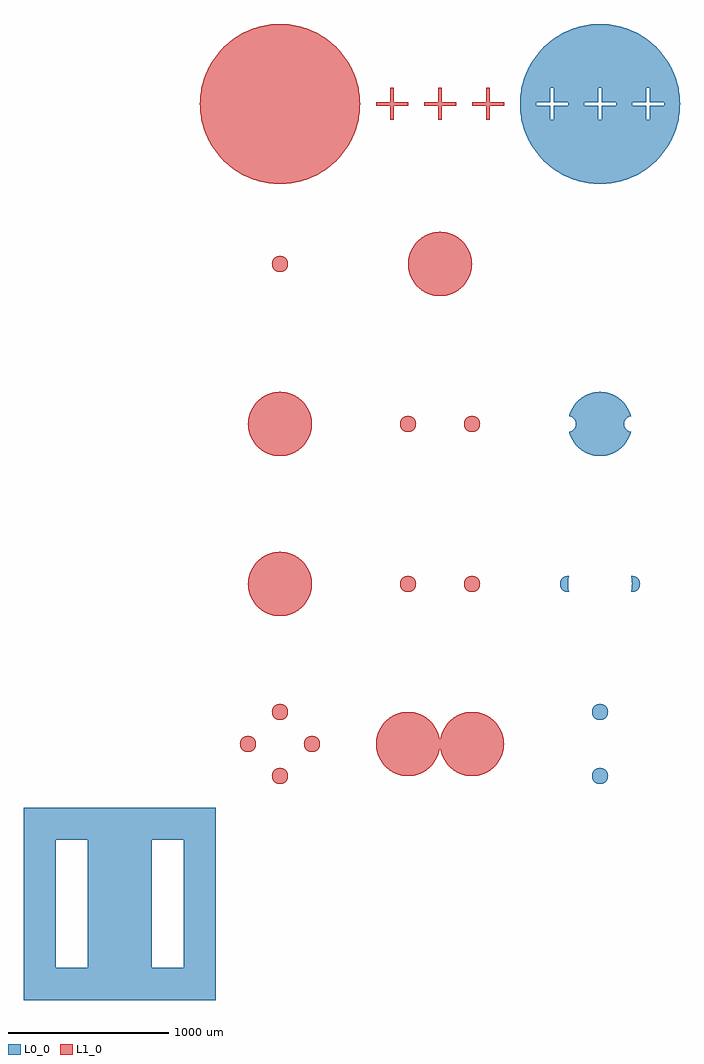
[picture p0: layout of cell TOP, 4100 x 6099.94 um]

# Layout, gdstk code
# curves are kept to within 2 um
import gdstk
lib = gdstk.Library(unit=1e-6, precision=1e-09)
def P(c, l, *ps):  # polygons
    for p in ps: c.add(gdstk.Polygon(p, *l))
L0_0 = (0, 0)
L1_0 = (1, 0)

top = lib.new_cell('TOP')
P(top, L0_0, [(497.736,952.472),(500,1000),(497.736,1047.528),(490.964,1094.626),(479.746,1140.866),(464.184,1185.831),(444.418,1229.113),(420.627,1270.32),(393.027,1309.08),(361.867,1345.04),(327.43,1377.875),(276.96,1416.285),(236.136,1440.727),(193.173,1461.177),(148.46,1477.451),(102.403,1489.401),(55.419,1496.919),(7.933,1499.937),(-39.625,1498.427),(-86.824,1492.404),(-133.237,1481.921),(-178.443,1467.074),(-236.136,1440.727),(-276.96,1416.285),(-315.276,1388.073),(-361.867,1345.04),(-393.027,1309.08),(-420.627,1270.32),(-444.418,1229.113),(-464.184,1185.831),(-479.746,1140.866),(-490.964,1094.626),(-497.736,1047.528),(-499.841,990),(-400,990),(-400,1010),(-310,1010),(-310,1100),(-290,1100),(-290,1010),(-200,1010),(-200,990),(-100,990),(-100,1010),(-10,1010),(-10,1100),(10,1100),(10,1010),(100,1010),(100,990),(200,990),(200,1010),(290,1010),(290,1100),(310,1100),(310,1010),(400,1010),(400,990),(310,990),(310,900),(290,900),(290,990),(10,990),(10,900),(-10,900),(-10,990),(-290,990),(-290,900),(-310,900),(-310,990),(-499.841,990),(-490.964,905.374),(-479.746,859.134),(-464.184,814.169),(-428.992,743.161),(-402.635,703.546),(-372.632,666.616),(-339.255,632.704),(-302.805,602.119),(-236.136,559.273),(-193.173,538.823),(-148.46,522.549),(-102.403,510.599),(-55.419,503.081),(-7.933,500.063),(39.625,501.573),(86.824,507.596),(133.237,518.079),(178.443,532.926),(236.136,559.273),(276.96,583.715),(315.276,611.927),(361.867,654.96),(393.027,690.921),(420.627,729.68),(444.418,770.887),(464.184,814.169),(479.746,859.134),(490.964,905.374)],
  [(191.318,-1049.24),(176.386,-1044.073),(163.813,-1034.504),(154.854,-1021.49),(150.402,-1006.33),(152.025,-985.913),(160.697,-969.092),(175,-956.699),(193.742,-950.399),(185.674,-925.668),(171.597,-897.264),(149.053,-866.646),(121.122,-840.848),(88.813,-820.801),(47.152,-805.638),(9.516,-800.227),(-28.463,-802.036),(-65.414,-811),(-100,-826.795),(-130.972,-848.85),(-157.211,-876.368),(-177.767,-908.355),(-193.59,-949.77),(-176.386,-955.927),(-163.813,-965.496),(-154.854,-978.51),(-150.402,-993.67),(-152.025,-1014.087),(-160.697,-1030.908),(-175,-1043.301),(-193.742,-1049.601),(-185.674,-1074.332),(-171.597,-1102.736),(-149.053,-1133.354),(-121.122,-1159.152),(-88.813,-1179.199),(-47.152,-1194.362),(-9.516,-1199.774),(34.73,-1196.962),(71.377,-1186.83),(105.445,-1169.945),(140.295,-1142.539),(164.735,-1113.412),(185.674,-1074.332),(193.742,-1049.601)],
  [(-196.386,-2037.85),(-199.899,-1993.654),(-193.742,-1950.399),(-203.962,-1950.157),(-223.614,-1955.927),(-238.302,-1967.861),(-247.504,-1984.398),(-249.774,-2004.753),(-242.063,-2027.032),(-226.361,-2042.486),(-210.24,-2048.94),(-193.742,-2049.601)],
  [(199.597,-2012.685),(193.742,-2049.601),(210.24,-2048.94),(225,-2043.301),(238.302,-2032.139),(246.985,-2017.101),(249.975,-2001.586),(246.985,-1982.899),(236.187,-1965.496),(220.771,-1954.518),(200.793,-1950.006),(193.742,-1950.399),(199.094,-1980.989)],
  [(49.899,-2803.171),(47.504,-2784.398),(38.302,-2767.86),(23.614,-2755.927),(3.962,-2750.157),(-14.846,-2752.255),(-32.743,-2762.212),(-44.442,-2777.088),(-49.899,-2796.829),(-47.504,-2815.602),(-38.302,-2832.14),(-23.614,-2844.073),(-3.962,-2849.843),(14.846,-2847.745),(32.743,-2837.788),(44.442,-2822.912)],
  [(49.899,-3203.171),(47.504,-3184.398),(38.302,-3167.86),(23.614,-3155.927),(3.962,-3150.157),(-14.846,-3152.255),(-32.743,-3162.212),(-44.442,-3177.088),(-49.899,-3196.829),(-47.504,-3215.602),(-38.302,-3232.14),(-23.614,-3244.073),(-3.962,-3249.843),(14.846,-3247.745),(32.743,-3237.788),(44.442,-3222.912)],
  [(49.899,-2803.171),(47.504,-2784.398),(38.302,-2767.86),(23.614,-2755.927),(3.962,-2750.157),(-14.846,-2752.255),(-32.743,-2762.212),(-44.442,-2777.088),(-49.899,-2796.829),(-47.504,-2815.602),(-38.302,-2832.14),(-23.614,-2844.073),(-3.962,-2849.843),(14.846,-2847.745),(32.743,-2837.788),(44.442,-2822.912)],
  [(49.899,-3203.171),(47.504,-3184.398),(38.302,-3167.86),(23.614,-3155.927),(3.962,-3150.157),(-14.846,-3152.255),(-32.743,-3162.212),(-44.442,-3177.088),(-49.899,-3196.829),(-47.504,-3215.602),(-38.302,-3232.14),(-23.614,-3244.073),(-3.962,-3249.843),(14.846,-3247.745),(32.743,-3237.788),(44.442,-3222.912)],
  [(-2400,-4600),(-2400,-3400),(-3600,-3400),(-3600,-4400),(-3400,-4400),(-3400,-3600),(-3200,-3600),(-3200,-4400),(-2800,-4400),(-2800,-3600),(-2600,-3600),(-2600,-4400),(-2800,-4400),(-3200,-4400),(-3400,-4400),(-3600,-4400),(-3600,-4600)])
P(top, L1_0, [(-990,1010),(-900,1010),(-900,990),(-990,990),(-990,900),(-1010,900),(-1010,990),(-1100,990),(-1100,1010),(-1010,1010),(-1010,1100),(-990,1100)],
  [(-690,1010),(-600,1010),(-600,990),(-690,990),(-690,900),(-710,900),(-710,990),(-800,990),(-800,1010),(-710,1010),(-710,1100),(-690,1100)],
  [(-1290,1010),(-1200,1010),(-1200,990),(-1290,990),(-1290,900),(-1310,900),(-1310,990),(-1400,990),(-1400,1010),(-1310,1010),(-1310,1100),(-1290,1100)],
  [(-1500,1000),(-1502.264,1047.528),(-1509.036,1094.626),(-1520.254,1140.866),(-1535.816,1185.831),(-1555.582,1229.113),(-1579.373,1270.32),(-1606.973,1309.08),(-1638.133,1345.04),(-1672.57,1377.875),(-1709.972,1407.288),(-1750,1433.013),(-1792.292,1454.816),(-1836.466,1472.5),(-1882.12,1485.906),(-1928.842,1494.911),(-1992.067,1499.937),(-2039.625,1498.427),(-2086.824,1492.404),(-2133.237,1481.921),(-2178.443,1467.074),(-2222.033,1447.997),(-2263.613,1424.863),(-2302.805,1397.881),(-2350.738,1356.347),(-2393.026,1309.08),(-2420.627,1270.32),(-2444.418,1229.113),(-2464.184,1185.831),(-2479.746,1140.866),(-2490.964,1094.626),(-2497.736,1047.528),(-2500,1000),(-2497.736,952.472),(-2490.964,905.374),(-2479.746,859.134),(-2464.184,814.169),(-2444.418,770.887),(-2420.627,729.68),(-2383.022,678.606),(-2350.738,643.653),(-2315.276,611.927),(-2276.96,583.715),(-2236.136,559.273),(-2193.172,538.823),(-2148.46,522.549),(-2102.403,510.599),(-2055.419,503.081),(-2007.933,500.063),(-1960.375,501.573),(-1913.176,507.596),(-1866.763,518.079),(-1806.827,538.823),(-1763.864,559.273),(-1723.04,583.715),(-1684.724,611.927),(-1649.263,643.653),(-1606.973,690.921),(-1579.373,729.68),(-1555.582,770.887),(-1535.816,814.169),(-1520.254,859.134),(-1509.036,905.374),(-1502.264,952.472)],
  [(-1950,0),(-1954.195,20.047),(-1964.926,35.635),(-1980.683,46.118),(-1999.207,49.994),(-2019.317,46.118),(-2035.074,35.635),(-2045.805,20.047),(-2050,0),(-2045.805,-20.047),(-2035.074,-35.635),(-2019.317,-46.118),(-2000.793,-49.994),(-1980.683,-46.118),(-1964.926,-35.635),(-1954.195,-20.047)],
  [(-800,0),(-803.614,37.85),(-814.326,74.332),(-831.749,108.128),(-855.253,138.016),(-889.216,166.514),(-922.731,184.471),(-959.039,195.76),(-996.827,199.975),(-1034.73,196.962),(-1071.377,186.83),(-1110.784,166.514),(-1140.295,142.539),(-1164.735,113.412),(-1183.222,80.186),(-1196.386,37.85),(-1200,0),(-1196.386,-37.85),(-1185.674,-74.332),(-1168.251,-108.128),(-1144.747,-138.016),(-1110.784,-166.514),(-1077.269,-184.471),(-1040.961,-195.76),(-1003.173,-199.975),(-965.27,-196.962),(-928.623,-186.83),(-889.216,-166.514),(-859.705,-142.539),(-835.265,-113.412),(-816.778,-80.186),(-803.614,-37.85)],
  [(-1150,-1000),(-1153.582,-981.417),(-1164.926,-964.365),(-1180.683,-953.882),(-1199.207,-950.006),(-1219.317,-953.882),(-1235.074,-964.365),(-1246.418,-981.417),(-1250,-1000),(-1246.418,-1018.583),(-1235.074,-1035.635),(-1219.317,-1046.118),(-1200.793,-1049.994),(-1180.683,-1046.118),(-1164.926,-1035.635),(-1153.582,-1018.583)],
  [(-750,-1000),(-753.582,-981.417),(-764.926,-964.365),(-780.683,-953.882),(-799.207,-950.006),(-819.317,-953.882),(-835.074,-964.365),(-846.418,-981.417),(-850,-1000),(-846.418,-1018.583),(-835.074,-1035.635),(-819.317,-1046.118),(-800.793,-1049.994),(-780.683,-1046.118),(-764.926,-1035.635),(-753.582,-1018.583)],
  [(-1800,-1000),(-1803.614,-962.15),(-1814.326,-925.668),(-1831.749,-891.872),(-1855.253,-861.984),(-1889.216,-833.486),(-1922.731,-815.529),(-1959.039,-804.24),(-1996.827,-800.025),(-2034.73,-803.038),(-2071.377,-813.17),(-2110.784,-833.486),(-2140.295,-857.461),(-2164.735,-886.588),(-2183.222,-919.814),(-2196.386,-962.15),(-2200,-1000),(-2196.386,-1037.85),(-2185.674,-1074.332),(-2168.251,-1108.128),(-2144.747,-1138.016),(-2116.012,-1162.915),(-2077.269,-1184.471),(-2040.961,-1195.76),(-2003.173,-1199.975),(-1965.27,-1196.962),(-1928.623,-1186.83),(-1889.216,-1166.514),(-1859.705,-1142.539),(-1835.265,-1113.412),(-1816.778,-1080.186),(-1803.614,-1037.85)],
  [(-1150,-2000),(-1153.582,-1981.417),(-1164.926,-1964.365),(-1180.683,-1953.882),(-1199.207,-1950.006),(-1219.317,-1953.882),(-1235.074,-1964.365),(-1246.418,-1981.417),(-1250,-2000),(-1246.418,-2018.583),(-1235.074,-2035.635),(-1219.317,-2046.118),(-1200.793,-2049.994),(-1180.683,-2046.118),(-1164.926,-2035.635),(-1153.582,-2018.583)],
  [(-750,-2000),(-753.582,-1981.417),(-764.926,-1964.365),(-780.683,-1953.882),(-799.207,-1950.006),(-819.317,-1953.882),(-835.074,-1964.365),(-846.418,-1981.417),(-850,-2000),(-846.418,-2018.583),(-835.074,-2035.635),(-819.317,-2046.118),(-800.793,-2049.994),(-780.683,-2046.118),(-764.926,-2035.635),(-753.582,-2018.583)],
  [(-1800,-2000),(-1803.614,-1962.15),(-1814.326,-1925.668),(-1831.749,-1891.872),(-1855.253,-1861.984),(-1889.216,-1833.486),(-1922.731,-1815.529),(-1959.039,-1804.24),(-1996.827,-1800.025),(-2034.73,-1803.038),(-2071.377,-1813.17),(-2110.784,-1833.486),(-2140.295,-1857.461),(-2164.735,-1886.588),(-2183.222,-1919.814),(-2196.386,-1962.15),(-2200,-2000),(-2196.386,-2037.85),(-2185.674,-2074.332),(-2168.251,-2108.128),(-2144.747,-2138.016),(-2116.012,-2162.915),(-2077.269,-2184.471),(-2040.961,-2195.76),(-2003.173,-2199.975),(-1965.27,-2196.962),(-1928.623,-2186.83),(-1889.216,-2166.514),(-1859.705,-2142.539),(-1835.265,-2113.412),(-1816.778,-2080.186),(-1803.614,-2037.85)],
  [(-600,-3000),(-603.614,-2962.15),(-614.326,-2925.668),(-631.749,-2891.872),(-655.253,-2861.984),(-689.216,-2833.486),(-722.731,-2815.529),(-759.039,-2804.24),(-796.827,-2800.025),(-834.73,-2803.038),(-871.377,-2813.17),(-910.784,-2833.486),(-940.295,-2857.461),(-964.735,-2886.588),(-983.222,-2919.814),(-996.386,-2962.15),(-1000,-3000),(-996.386,-3037.85),(-985.674,-3074.332),(-968.251,-3108.128),(-944.747,-3138.016),(-910.784,-3166.514),(-877.269,-3184.471),(-840.961,-3195.76),(-803.173,-3199.975),(-765.27,-3196.962),(-728.623,-3186.83),(-689.216,-3166.514),(-659.705,-3142.539),(-635.265,-3113.412),(-616.778,-3080.186),(-603.614,-3037.85)],
  [(-1000,-3000),(-1003.614,-2962.15),(-1014.326,-2925.668),(-1031.749,-2891.872),(-1055.253,-2861.984),(-1089.216,-2833.486),(-1122.731,-2815.529),(-1159.039,-2804.24),(-1196.827,-2800.025),(-1234.73,-2803.038),(-1271.377,-2813.17),(-1310.784,-2833.486),(-1340.295,-2857.461),(-1364.735,-2886.588),(-1383.222,-2919.814),(-1396.386,-2962.15),(-1400,-3000),(-1396.386,-3037.85),(-1385.674,-3074.332),(-1368.251,-3108.128),(-1344.747,-3138.016),(-1310.784,-3166.514),(-1277.269,-3184.471),(-1240.961,-3195.76),(-1203.173,-3199.975),(-1165.27,-3196.962),(-1128.623,-3186.83),(-1089.216,-3166.514),(-1059.705,-3142.539),(-1035.265,-3113.412),(-1016.778,-3080.186),(-1003.614,-3037.85)],
  [(-2150,-3000),(-2154.194,-2979.953),(-2164.926,-2964.365),(-2180.682,-2953.882),(-2199.207,-2950.006),(-2219.318,-2953.882),(-2235.074,-2964.365),(-2245.806,-2979.953),(-2250,-3000),(-2245.806,-3020.047),(-2235.074,-3035.635),(-2219.318,-3046.118),(-2200.793,-3049.994),(-2180.682,-3046.118),(-2164.926,-3035.635),(-2154.194,-3020.047)],
  [(-1750,-3000),(-1754.195,-2979.953),(-1764.926,-2964.365),(-1780.683,-2953.882),(-1799.207,-2950.006),(-1819.317,-2953.882),(-1835.074,-2964.365),(-1845.805,-2979.953),(-1850,-3000),(-1845.805,-3020.047),(-1835.074,-3035.635),(-1819.317,-3046.118),(-1800.793,-3049.994),(-1780.683,-3046.118),(-1764.926,-3035.635),(-1754.195,-3020.047)],
  [(-1950,-2800),(-1954.195,-2779.953),(-1964.926,-2764.365),(-1980.683,-2753.882),(-1999.207,-2750.006),(-2017.844,-2753.292),(-2035.074,-2764.365),(-2045.805,-2779.953),(-2050,-2800),(-2045.805,-2820.047),(-2035.074,-2835.635),(-2019.317,-2846.118),(-2000.793,-2849.994),(-1982.156,-2846.708),(-1964.926,-2835.635),(-1954.195,-2820.047)],
  [(-1950,-3200),(-1954.195,-3179.953),(-1964.926,-3164.365),(-1980.683,-3153.882),(-1999.207,-3150.006),(-2017.844,-3153.292),(-2035.074,-3164.365),(-2045.805,-3179.953),(-2050,-3200),(-2045.805,-3220.047),(-2035.074,-3235.635),(-2019.317,-3246.118),(-2000.793,-3249.994),(-1982.156,-3246.708),(-1964.926,-3235.635),(-1954.195,-3220.047)],
  [(-600,-3000),(-603.614,-2962.15),(-614.326,-2925.668),(-631.749,-2891.872),(-655.253,-2861.984),(-689.216,-2833.486),(-722.731,-2815.529),(-759.039,-2804.24),(-796.827,-2800.025),(-834.73,-2803.038),(-871.377,-2813.17),(-910.784,-2833.486),(-940.295,-2857.461),(-964.735,-2886.588),(-983.222,-2919.814),(-996.386,-2962.15),(-1000,-3000),(-996.386,-3037.85),(-985.674,-3074.332),(-968.251,-3108.128),(-944.747,-3138.016),(-910.784,-3166.514),(-877.269,-3184.471),(-840.961,-3195.76),(-803.173,-3199.975),(-765.27,-3196.962),(-728.623,-3186.83),(-689.216,-3166.514),(-659.705,-3142.539),(-635.265,-3113.412),(-616.778,-3080.186),(-603.614,-3037.85)],
  [(-1000,-3000),(-1003.614,-2962.15),(-1014.326,-2925.668),(-1031.749,-2891.872),(-1055.253,-2861.984),(-1089.216,-2833.486),(-1122.731,-2815.529),(-1159.039,-2804.24),(-1196.827,-2800.025),(-1234.73,-2803.038),(-1271.377,-2813.17),(-1310.784,-2833.486),(-1340.295,-2857.461),(-1364.735,-2886.588),(-1383.222,-2919.814),(-1396.386,-2962.15),(-1400,-3000),(-1396.386,-3037.85),(-1385.674,-3074.332),(-1368.251,-3108.128),(-1344.747,-3138.016),(-1310.784,-3166.514),(-1277.269,-3184.471),(-1240.961,-3195.76),(-1203.173,-3199.975),(-1165.27,-3196.962),(-1128.623,-3186.83),(-1089.216,-3166.514),(-1059.705,-3142.539),(-1035.265,-3113.412),(-1016.778,-3080.186),(-1003.614,-3037.85)],
  [(-2150,-3000),(-2154.194,-2979.953),(-2164.926,-2964.365),(-2180.682,-2953.882),(-2199.207,-2950.006),(-2219.318,-2953.882),(-2235.074,-2964.365),(-2245.806,-2979.953),(-2250,-3000),(-2245.806,-3020.047),(-2235.074,-3035.635),(-2219.318,-3046.118),(-2200.793,-3049.994),(-2180.682,-3046.118),(-2164.926,-3035.635),(-2154.194,-3020.047)],
  [(-1750,-3000),(-1754.195,-2979.953),(-1764.926,-2964.365),(-1780.683,-2953.882),(-1799.207,-2950.006),(-1819.317,-2953.882),(-1835.074,-2964.365),(-1845.805,-2979.953),(-1850,-3000),(-1845.805,-3020.047),(-1835.074,-3035.635),(-1819.317,-3046.118),(-1800.793,-3049.994),(-1780.683,-3046.118),(-1764.926,-3035.635),(-1754.195,-3020.047)],
  [(-1950,-2800),(-1954.195,-2779.953),(-1964.926,-2764.365),(-1980.683,-2753.882),(-1999.207,-2750.006),(-2017.844,-2753.292),(-2035.074,-2764.365),(-2045.805,-2779.953),(-2050,-2800),(-2045.805,-2820.047),(-2035.074,-2835.635),(-2019.317,-2846.118),(-2000.793,-2849.994),(-1982.156,-2846.708),(-1964.926,-2835.635),(-1954.195,-2820.047)],
  [(-1950,-3200),(-1954.195,-3179.953),(-1964.926,-3164.365),(-1980.683,-3153.882),(-1999.207,-3150.006),(-2017.844,-3153.292),(-2035.074,-3164.365),(-2045.805,-3179.953),(-2050,-3200),(-2045.805,-3220.047),(-2035.074,-3235.635),(-2019.317,-3246.118),(-2000.793,-3249.994),(-1982.156,-3246.708),(-1964.926,-3235.635),(-1954.195,-3220.047)])

lib.write_gds('TOP.gds')
